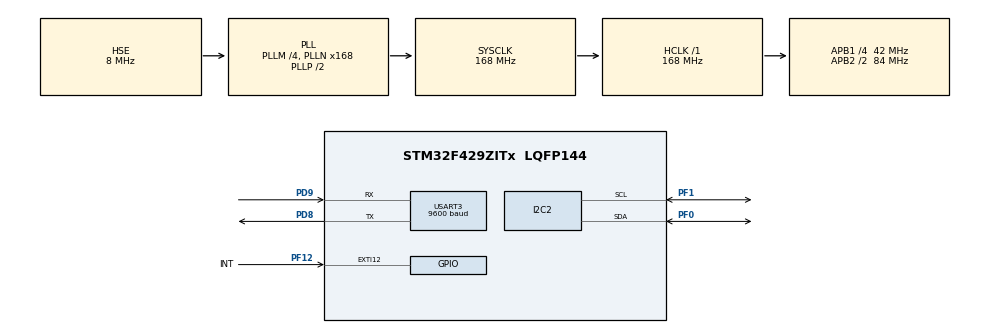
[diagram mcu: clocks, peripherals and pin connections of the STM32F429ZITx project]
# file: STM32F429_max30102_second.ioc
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Mcu.Family=STM32F4
Mcu.Name=STM32F429ZITx
Mcu.Package=LQFP144
NVIC.EXTI15_10_IRQn=true\:0\:0\:false\:false\:true\:true\:true\:true
NVIC.PriorityGroup=NVIC_PRIORITYGROUP_4
PA13.Mode=Serial_Wire
PA13.Signal=SYS_JTMS-SWDIO
PA14.Mode=Serial_Wire
PA14.Signal=SYS_JTCK-SWCLK
PC14/OSC32_IN.Mode=LSE-External-Oscillator
PC14/OSC32_IN.Signal=RCC_OSC32_IN
PC15/OSC32_OUT.Mode=LSE-External-Oscillator
PC15/OSC32_OUT.Signal=RCC_OSC32_OUT
PD8.Mode=Asynchronous
PD8.Signal=USART3_TX
PD9.Mode=Asynchronous
PD9.Signal=USART3_RX
PF0.GPIO_Pu=GPIO_PULLUP
PF0.Mode=I2C
PF0.Signal=I2C2_SDA
PF1.GPIO_Pu=GPIO_PULLUP
PF1.Mode=I2C
PF1.Signal=I2C2_SCL
PF12.GPIO_Label=INT
PF12.GPIO_ModeDefaultEXTI=GPIO_MODE_IT_FALLING
PF12.GPIO_PuPd=GPIO_NOPULL
PF12.Signal=GPXTI12
PH0/OSC_IN.Mode=HSE-External-Clock-Source
PH0/OSC_IN.Signal=RCC_OSC_IN
PH1/OSC_OUT.Mode=HSE-External-Clock-Source
PH1/OSC_OUT.Signal=RCC_OSC_OUT
ProjectManager.HeapSize=0x200
ProjectManager.StackSize=0x400
ProjectManager.TargetToolchain=STM32CubeIDE
RCC.48MHZClocksFreq_Value=84000000
RCC.AHBFreq_Value=168000000
RCC.APB1CLKDivider=RCC_HCLK_DIV4
RCC.APB1Freq_Value=42000000
RCC.APB1TimFreq_Value=84000000
RCC.APB2CLKDivider=RCC_HCLK_DIV2
RCC.APB2Freq_Value=84000000
RCC.APB2TimFreq_Value=168000000
RCC.CortexFreq_Value=168000000
RCC.HCLKFreq_Value=168000000
RCC.HSE_VALUE=8000000
RCC.HSI_VALUE=16000000
RCC.PLLM=4
RCC.PLLN=168
RCC.PLLSourceVirtual=RCC_PLLSOURCE_HSE
RCC.SYSCLKFreq_VALUE=168000000
RCC.SYSCLKSource=RCC_SYSCLKSOURCE_PLLCLK
RCC.VCOOutputFreq_Value=336000000
USART3.BaudRate=9600
USART3.VirtualMode=VM_ASYNC
board=custom

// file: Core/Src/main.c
/* USER CODE BEGIN Header */
/**
  ******************************************************************************
  * @file           : main.c
  * @brief          : Main program body
  ******************************************************************************
  * @attention
  *
  * Copyright (c) 2023 STMicroelectronics.
  * All rights reserved.
  *
  * This software is licensed under terms that can be found in the LICENSE file
  * in the root directory of this software component.
  * If no LICENSE file comes with this software, it is provided AS-IS.
  *
  ******************************************************************************
  */
/* USER CODE END Header */
#include "main.h"

/* USER CODE BEGIN Includes */
#include <stdio.h>
#include <math.h>
//#include "max30102_for_stm32_hal.h"
#include "max30100.h"

#define _UART_PRINTF
#define RESET_SPO2_EVERY_N_PULSES 4

//MODE of chip:
//#define _SPO2_
#define _HEART_RATE_
#define _TEMPERATURE_

#define _READ_DEV_ID_
/* USER CODE END Includes */

I2C_HandleTypeDef hi2c2;

UART_HandleTypeDef huart3;

/* USER CODE BEGIN PV */
volatile uint8_t pulseOximiterIntFlag = 0;
/* USER CODE END PV */

void SystemClock_Config(void);
static void MX_GPIO_Init(void);
static void MX_USART3_UART_Init(void);
static void MX_I2C2_Init(void);
/* USER CODE BEGIN PFP */

#ifdef _UART_PRINTF

	// redirecting stdout to USART3
	int _write(int file, char *ptr, int len){
		HAL_UART_Transmit(&huart3, (uint8_t*)ptr, len, 250);
		return len;
	}

#endif

/* USER CODE END PFP */

/* USER CODE BEGIN 0 */

// MAX30100 object
max30100_t max30100;
dc_filter_t dc_filter_ir;
dc_filter_t dc_filter_red;
meanDiffFilter_t mean_diff_ir;

butterworthFilter_t butterworth_filter_ir;

#ifdef _TEMPERATURE_
	float temp_out;
#endif

void max30100_user_init(){
	// Initiation
	max30100_init(&max30100, &hi2c2);
	max30100_reset(&max30100);
	max30100_clear_fifo(&max30100);

	if (max30100_begin(&max30100) == false){
		printf("Pulse oxymeter not works!\r\n");
	}

	// Sensor settings
	//max30100_set_led_pulse_width( &max30100, max30100_pw_1600); // pulse width depends of ADC

	//max30100_set_adc_resolution(&max30100, max30100_adc_16_bit);
	//max30100_set_sampling_rate( &max30100, max30100_sr_100);
	//max30100_spo2_hi_res_en(&max30100, max_30100_disable);

	dc_filter_ir.w = 0;
	dc_filter_ir.result = 0;
	mean_diff_ir.count = 0;
	mean_diff_ir.index = 0;
	mean_diff_ir.sum = 0;
	butterworth_filter_ir.result = 0;
	butterworth_filter_ir.value[0] = 0;
	butterworth_filter_ir.value[1] = 0;

	dc_filter_red.w = 0;
	dc_filter_red.result = 0;

#ifdef _HEART_RATE_
	max30100_set_mode(&max30100, max30100_heart_rate);
	max30100_led_pa_config(&max30100, max30100_red_pa_27_1, red_led);
#elif defined (_SPO2_)
	max30100_set_mode(&max30100, max30100_spo2);
	max30100_spo2_hi_res_en(&max30100, max_30100_disable);

	max30100_led_pa_config(&max30100, max30100_red_pa_27_1, red_led);
	max30100_led_pa_config(&max30100, max30100_red_pa_50, ir_led);
#endif

	//max30100_set_a_full(&max30100, 1);
}

void max30100_user_update(){
	max30100.heart_BPM = 0;
	max30100.SPO2 = 0;

	max30100_read_fifo(&max30100);

	max30100._dc_filter_ir = dc_remove( max30100._ir_samples[0], dc_filter_ir.w, ALPHA);
	max30100._dc_filter_red = dc_remove( max30100._red_samples[0], dc_filter_red.w, ALPHA);

	float mean_diff_res_ir = mean_diff(dc_filter_ir.result, &mean_diff_ir);
	butterworth_filter(mean_diff_res_ir, &butterworth_filter_ir);

	max30100.ir_AC_value_Sq_Sum += dc_filter_ir.result * dc_filter_ir.result;
	max30100.red_AC_value_Sq_Sum += dc_filter_ir.result * dc_filter_ir.result;
	max30100.samples_recorded++;

	float ratio_RMS;
	if ( max30100_detect_pulse(&max30100, butterworth_filter_ir.result ) && max30100.samples_recorded > 0 ){
		max30100.pulses_detected++;

		ratio_RMS = log( sqrt(max30100.red_AC_value_Sq_Sum / max30100.samples_recorded) ) / log( sqrt(max30100.ir_AC_value_Sq_Sum / max30100.samples_recorded) );
	}

#ifdef _DEBUG_
	printf("RMS ratio: %f \r\n", ratio_RMS);
#endif

	 //This is my adjusted standard model, so it shows 0.89 as 94% saturation. It is probably far from correct, requires proper empircal calibration
	 max30100.current_SaO2_value = 110.0 - 18.0 * ratio_RMS;
	 max30100.SPO2 = max30100.current_SaO2_value;

	if( max30100.pulses_detected % RESET_SPO2_EVERY_N_PULSES == 0)
	{
		max30100.ir_AC_value_Sq_Sum = 0;
		max30100.red_AC_value_Sq_Sum = 0;
		max30100.samples_recorded = 0;
	}
}

/* USER CODE END 0 */

int main(void)
{

  /* MCU Configuration--------------------------------------------------------*/

  /* Reset of all peripherals, Initializes the Flash interface and the Systick. */
  HAL_Init();

  /* Configure the system clock */
  SystemClock_Config();

  /* Initialize all configured peripherals */
  MX_GPIO_Init();
  MX_USART3_UART_Init();
  MX_I2C2_Init();
  /* USER CODE BEGIN 2 */

  max30100_user_init();

  /* USER CODE END 2 */

  /* Infinite loop */
  /* USER CODE BEGIN WHILE */

  while (1)
  {
	  uint8_t result;
	  result = max30100_read_i2c_address(&hi2c2);
	  printf("device id: %u\r\n", result);
	  max30100_user_update();

	  printf("BPM: %f \r\n", max30100.heart_BPM);
#ifdef _SPO2_
	  printf("SpO2: %f \r\n", max30100.SPO2);
#endif

#ifdef _TEMPERATURE_
	temp_out = max30100_read_temp(&max30100);
	printf("Temp: %f\r\n", temp_out);
#endif
	  HAL_Delay(4000);
    /* USER CODE END WHILE */

  }
}

void SystemClock_Config(void)
{
  RCC_OscInitTypeDef RCC_OscInitStruct = {0};
  RCC_ClkInitTypeDef RCC_ClkInitStruct = {0};

  /** Configure the main internal regulator output voltage
  */
  __HAL_RCC_PWR_CLK_ENABLE();
  __HAL_PWR_VOLTAGESCALING_CONFIG(PWR_REGULATOR_VOLTAGE_SCALE1);

  /** Initializes the RCC Oscillators according to the specified parameters
  * in the RCC_OscInitTypeDef structure.
  */
  RCC_OscInitStruct.OscillatorType = RCC_OSCILLATORTYPE_HSE;
  RCC_OscInitStruct.HSEState = RCC_HSE_BYPASS;
  RCC_OscInitStruct.PLL.PLLState = RCC_PLL_ON;
  RCC_OscInitStruct.PLL.PLLSource = RCC_PLLSOURCE_HSE;
  RCC_OscInitStruct.PLL.PLLM = 4;
  RCC_OscInitStruct.PLL.PLLN = 168;
  RCC_OscInitStruct.PLL.PLLP = RCC_PLLP_DIV2;
  RCC_OscInitStruct.PLL.PLLQ = 4;
  if (HAL_RCC_OscConfig(&RCC_OscInitStruct) != HAL_OK)
  {
    Error_Handler();
  }

  /** Initializes the CPU, AHB and APB buses clocks
  */
  RCC_ClkInitStruct.ClockType = RCC_CLOCKTYPE_HCLK|RCC_CLOCKTYPE_SYSCLK
                              |RCC_CLOCKTYPE_PCLK1|RCC_CLOCKTYPE_PCLK2;
  RCC_ClkInitStruct.SYSCLKSource = RCC_SYSCLKSOURCE_PLLCLK;
  RCC_ClkInitStruct.AHBCLKDivider = RCC_SYSCLK_DIV1;
  RCC_ClkInitStruct.APB1CLKDivider = RCC_HCLK_DIV4;
  RCC_ClkInitStruct.APB2CLKDivider = RCC_HCLK_DIV2;

  if (HAL_RCC_ClockConfig(&RCC_ClkInitStruct, FLASH_LATENCY_5) != HAL_OK)
  {
    Error_Handler();
  }
}

static void MX_I2C2_Init(void)
{

  hi2c2.Instance = I2C2;
  hi2c2.Init.ClockSpeed = 100000;
  hi2c2.Init.DutyCycle = I2C_DUTYCYCLE_2;
  hi2c2.Init.OwnAddress1 = 0;
  hi2c2.Init.AddressingMode = I2C_ADDRESSINGMODE_7BIT;
  hi2c2.Init.DualAddressMode = I2C_DUALADDRESS_DISABLE;
  hi2c2.Init.OwnAddress2 = 0;
  hi2c2.Init.GeneralCallMode = I2C_GENERALCALL_DISABLE;
  hi2c2.Init.NoStretchMode = I2C_NOSTRETCH_DISABLE;
  if (HAL_I2C_Init(&hi2c2) != HAL_OK)
  {
    Error_Handler();
  }

  /** Configure Analogue filter
  */
  if (HAL_I2CEx_ConfigAnalogFilter(&hi2c2, I2C_ANALOGFILTER_ENABLE) != HAL_OK)
  {
    Error_Handler();
  }

  /** Configure Digital filter
  */
  if (HAL_I2CEx_ConfigDigitalFilter(&hi2c2, 0) != HAL_OK)
  {
    Error_Handler();
  }

}

static void MX_USART3_UART_Init(void)
{

  huart3.Instance = USART3;
  huart3.Init.BaudRate = 9600;
  huart3.Init.WordLength = UART_WORDLENGTH_8B;
  huart3.Init.StopBits = UART_STOPBITS_1;
  huart3.Init.Parity = UART_PARITY_NONE;
  huart3.Init.Mode = UART_MODE_TX_RX;
  huart3.Init.HwFlowCtl = UART_HWCONTROL_NONE;
  huart3.Init.OverSampling = UART_OVERSAMPLING_16;
  if (HAL_UART_Init(&huart3) != HAL_OK)
  {
    Error_Handler();
  }

}

static void MX_GPIO_Init(void)
{
  GPIO_InitTypeDef GPIO_InitStruct = {0};

  /* GPIO Ports Clock Enable */
  __HAL_RCC_GPIOC_CLK_ENABLE();
  __HAL_RCC_GPIOF_CLK_ENABLE();
  __HAL_RCC_GPIOH_CLK_ENABLE();
  __HAL_RCC_GPIOD_CLK_ENABLE();
  __HAL_RCC_GPIOA_CLK_ENABLE();

  /*Configure GPIO pin : INT_Pin */
  GPIO_InitStruct.Pin = INT_Pin;
  GPIO_InitStruct.Mode = GPIO_MODE_IT_FALLING;
  GPIO_InitStruct.Pull = GPIO_NOPULL;
  HAL_GPIO_Init(INT_GPIO_Port, &GPIO_InitStruct);

  /* EXTI interrupt init*/
  HAL_NVIC_SetPriority(EXTI15_10_IRQn, 0, 0);
  HAL_NVIC_EnableIRQ(EXTI15_10_IRQn);

}

/* USER CODE BEGIN 4 */
#ifdef _READ_DEV_ID_
uint8_t max30100_read_i2c_address(I2C_HandleTypeDef *hi2c)
{
  uint8_t i2c_address = 0;
  uint8_t tx_data = 0xFE;
  uint8_t rx_data;

  // Send the register address to read
  if (HAL_I2C_Master_Transmit(hi2c, MAX30100_I2C_ADDR, &tx_data, 1, 500) != HAL_OK) {
    // Error handling
  }

  // Read the I2C address
  if (HAL_I2C_Master_Receive(hi2c, MAX30100_I2C_ADDR, &rx_data, 1, 500) != HAL_OK) {
    // Error handling
  }

  i2c_address = rx_data >> 1; // The address is the upper 7 bits of the register value

  return i2c_address;
}
#endif

/* USER CODE END 4 */

void Error_Handler(void)
{
}
